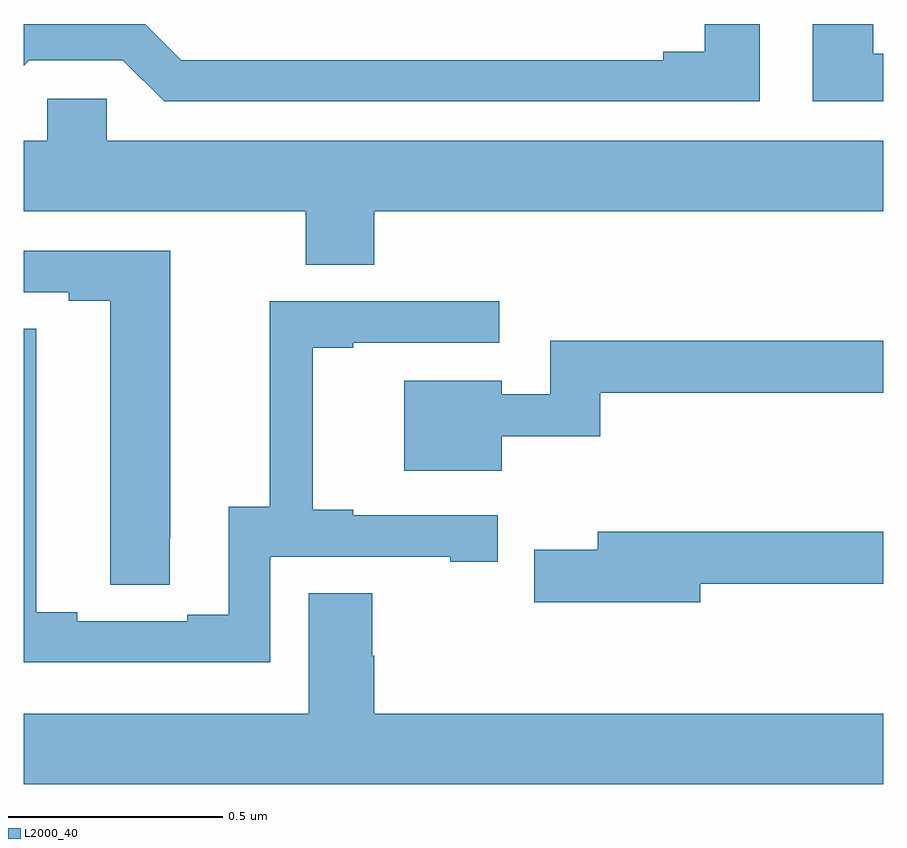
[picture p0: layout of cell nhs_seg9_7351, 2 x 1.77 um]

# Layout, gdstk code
import gdstk
lib = gdstk.Library(unit=1e-6, precision=1e-09)
def P(c, l, *ps):  # polygons
    for p in ps: c.add(gdstk.Polygon(p, *l))
L2000_40 = (2000, 40)

nhs_seg9_7351 = lib.new_cell('nhs_seg9_7351')
P(nhs_seg9_7351, L2000_40, [(204.712,1219.5),(204.584,1219.5),(204.584,1219.436),(204.488,1219.436),(204.488,1219.416),(203.367,1219.416),(203.283,1219.5),(203,1219.5),(203,1219.403),(203.013,1219.416),(203.231,1219.416),(203.327,1219.32),(204.712,1219.32)],
  [(205,1219.431),(204.976,1219.431),(204.976,1219.5),(204.836,1219.5),(204.836,1219.32),(205,1219.32)],
  [(203.816,1219.064),(205,1219.064),(205,1219.228),(203.193,1219.228),(203.193,1219.326),(203.055,1219.326),(203.055,1219.228),(203,1219.228),(203,1219.064),(203.656,1219.064),(203.656,1218.94),(203.816,1218.94)],
  [(203.34,1218.304),(203.341,1218.304),(203.341,1218.972),(203,1218.972),(203,1218.876),(203.105,1218.876),(203.105,1218.856),(203.201,1218.856),(203.201,1218.196),(203.34,1218.196)],
  [(203.574,1218.261),(203.993,1218.261),(203.993,1218.249),(204.103,1218.249),(204.103,1218.357),(203.767,1218.357),(203.767,1218.37),(203.672,1218.37),(203.672,1218.747),(203.767,1218.747),(203.767,1218.759),(204.106,1218.759),(204.106,1218.855),(203.572,1218.855),(203.572,1218.377),(203.477,1218.377),(203.477,1218.126),(203.381,1218.126),(203.381,1218.111),(203.125,1218.111),(203.125,1218.131),(203.029,1218.131),(203.029,1218.791),(203,1218.791),(203,1218.015),(203.574,1218.015)],
  [(204.112,1218.541),(204.341,1218.541),(204.341,1218.642),(205,1218.642),(205,1218.763),(204.225,1218.763),(204.225,1218.639),(204.112,1218.639),(204.112,1218.67),(203.885,1218.67),(203.885,1218.461),(204.112,1218.461)],
  [(204.574,1218.198),(205,1218.198),(205,1218.319),(204.335,1218.319),(204.335,1218.277),(204.188,1218.277),(204.188,1218.155),(204.574,1218.155)],
  [(205,1217.896),(203.816,1217.896),(203.816,1218.03),(203.811,1218.03),(203.811,1218.176),(203.663,1218.176),(203.663,1217.896),(203,1217.896),(203,1217.732),(205,1217.732)])

lib.write_gds('nhs_seg9_7351.gds')
